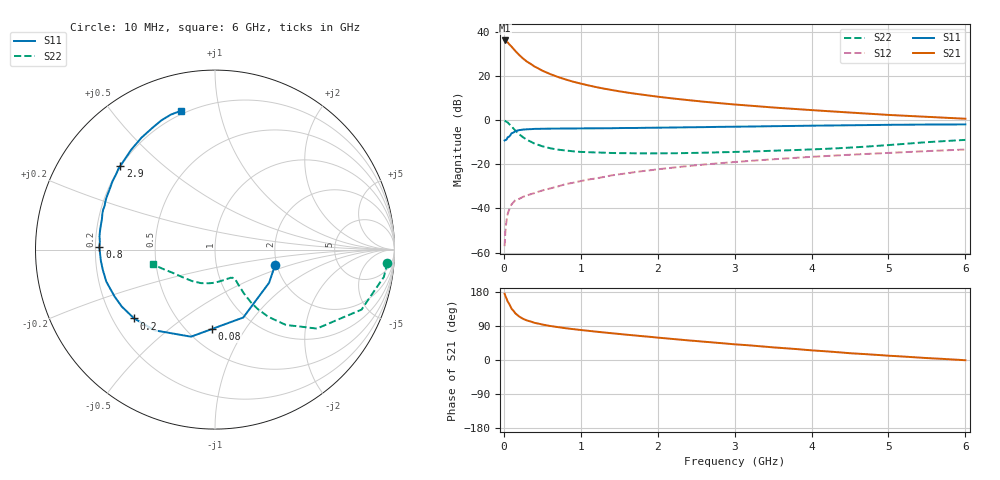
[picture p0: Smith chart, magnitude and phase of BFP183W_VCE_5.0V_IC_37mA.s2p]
! (c) 2017  Infineon Technologies AG, Munich
! Infineon Technologies  Discrete & RF Semiconductors
! BFP183W
! VCE =  5.0 V,  IC =  37 mA
! Common Emitter S-Parameters:  Jan 2017
# GHz  S  MA  R  50
!  f  S11  S21  S12  S22
! GHz  MAG  ANG  MAG  ANG  MAG  ANG  MAG  ANG
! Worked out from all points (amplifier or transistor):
!   77 points, 10 MHz to 6 GHz, reference 50 ohm
!   highest |S21| = 36.0 dB at 10 MHz (marker M1)
!   |S21| within 3 dB of that: start of sweep to 105.6 MHz
!   unconditionally stable (mu >= 1): 846 MHz to 3.355 GHz
!   at 130 MHz: K = 0.34, MSG = 34.5 dB, |S12| = -37.0 dB
!   at 2.2 GHz: K = 1.06, MAG = 14.1 dB, |S12| = -21.5 dB
!   at 6 GHz: K = 0.86, MSG = 7.0 dB, |S12| = -13.3 dB
!   S11 on the Smith chart (normalised r, x): 10 MHz: 1.95, -0.39; 80 MHz: 0.65, -0.72; 200 MHz: 0.29, -0.34; 800 MHz: 0.22, +0.01; 2.9 GHz: 0.20, +0.37; 6 GHz: 0.18, +0.77
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0.01  0.3458 -14.7  63.23 174.9  0.0014 98.7  0.9634 -4.3
0.02  0.3535 -31.5  61.95 169.1  0.003 83.3  0.9531 -9.2
0.05  0.4098 -67.4  57.09 154.3  0.0075 67.4  0.8821 -22.3
0.08  0.4427 -92.2  49.69 143.9  0.0104 63.5  0.7765 -30.8
0.1  0.5032 -105.4  45.9 135.3  0.0123 61.9  0.7179 -37.8
0.15  0.5623 -126.9  36.5 123.1  0.0154 52.6  0.5752 -46.8
0.2  0.5918 -139.6  29.57 114.7  0.0165 50.2  0.4775 -51.6
0.25  0.6085 -148.5  24.66 108.7  0.0183 49.2  0.4074 -54.3
0.3  0.6175 -154.9  21.02 104.4  0.0197 49.6  0.3568 -55.7
0.4  0.6314 -163.7  16.21 98.0  0.0223 51.8  0.2927 -56.6
0.5  0.6351 -169.7  13.1 93.6  0.0255 54.6  0.2551 -56.4
0.6  0.6389 -174.3  11.02 89.9  0.0283 56.4  0.2306 -56.3
0.7  0.6407 -177.9  9.467 86.9  0.0313 59.3  0.2143 -55.9
0.8  0.6443 178.7  8.315 84.0  0.0354 61.1  0.2047 -55.9
1.1  0.649 170.9  6.077 77.0  0.0451 62.8  0.1875 -57.5
1.5  0.6583 162.5  4.47 68.7  0.0592 64.2  0.1784 -62.4
2.1  0.6746 151.3  3.223 57.3  0.0803 63.0  0.1768 -75.2
2.9  0.7039 138.5  2.33 43.2  0.1087 59.3  0.1879 -96.9
3.1  0.71 135.6  2.181 40.0  0.1156 58.1  0.1918 -102.4
4.1  0.7486 122.1  1.637 24.1  0.1503 51.9  0.2201 -129.1
5.1  0.7817 111.6  1.28 10.2  0.1839 45.3  0.2798 -153.9
6  0.7965 103.8  1.07 -0.6  0.2156 39.1  0.3556 -166.8
